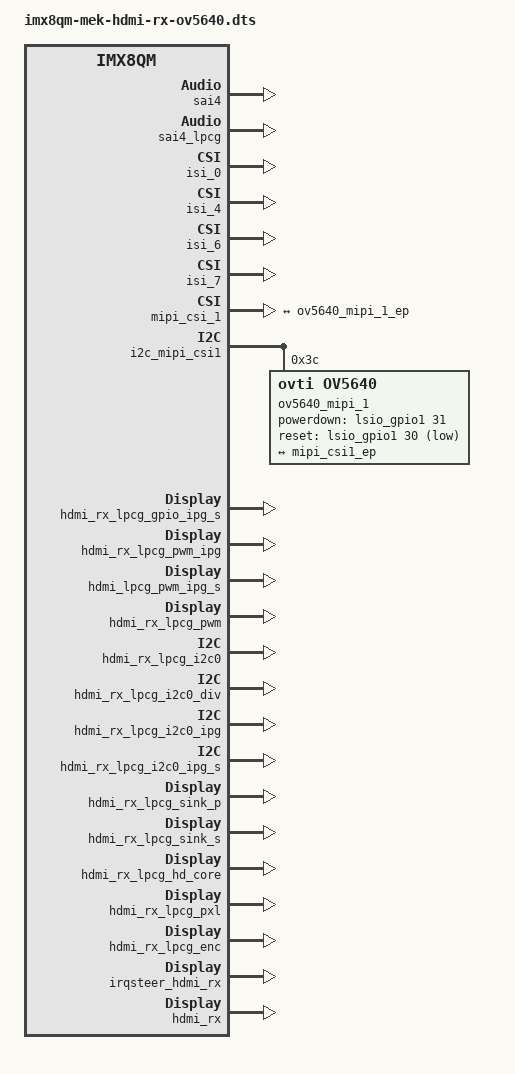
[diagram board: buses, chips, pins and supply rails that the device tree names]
// SPDX-License-Identifier: GPL-2.0+
/*
 * Copyright 2020 - 2022 NXP
 * Oliver F. Brown <oliver.brown@nxp.com>
 */
/*
 * HDMI RX and OV5640 on MIPI CSI 1
 */

#include "imx8qm-mek-hdmi.dts"

/ {
	sound-hdmi-rx {
		compatible = "fsl,imx-audio-cdnhdmi";
		model = "imx-audio-hdmi-rx";
		audio-cpu = <&sai4>;
		protocol = <1>;
		hdmi-in;
	};
};

&sai4 {
	fsl,sai-asynchronous;
	status = "okay";
};

&sai4_lpcg {
	status = "okay";
};

&isi_0 {
	status = "okay";

	cap_device {
		status = "disabled";
	};

	m2m_device {
		status = "okay";
	};
};

&isi_1 {
	status = "disabled";

	cap_device {
		status = "disabled";
	};
};


&isi_2 {
	status = "disabled";

	cap_device {
		status = "disabled";
	};
};
&isi_3 {
	status = "disabled";

	cap_device {
		status = "disabled";
	};
};


&isi_4 {
	status = "okay";

	cap_device {
		status = "okay";
	};
};

&isi_5 {
	status = "disabled";

	cap_device {
		status = "disabled";
	};
};

/* HDMI RX */
&isi_6 {
	interface = <4 0 2>;  /* <Input MIPI_VCx Output>
						Input:  0-DC0, 1-DC1, 2-MIPI CSI0, 3-MIPI CSI1, 4-HDMI, 5-MEM
						VCx:    0-VC0, 1-VC1, 2-VC2, 3-VC3, MIPI CSI only
						Output: 0-DC0, 1-DC1, 2-MEM */
	status = "okay";
	cap_device {
		status = "okay";
	};
};

&isi_7 {
	/* For HDMI RX 4K chain buf */
	interface = <4 0 2>;
	status = "okay";
	cap_device {
		status = "okay";
	};
};

&mipi_csi_0 {
        /delete-property/virtual-channel;
	status = "disabled";
};

&i2c_mipi_csi0 {
	status = "disabled";
};

&mipi_csi_1 {
	/delete-property/virtual-channel;

	/* Camera 1  MIPI CSI-2 (CSIS0) */
	port@1 {
		reg = <1>;
		mipi_csi1_ep: endpoint {
			remote-endpoint = <&ov5640_mipi_1_ep>;
			data-lanes = <1 2>;
			bus-type = <4>;
		};
	};
};

&i2c_mipi_csi1 {
	ov5640_mipi_1: ov5640_mipi@3c {
		compatible = "ovti,ov5640";
		reg = <0x3c>;
		pinctrl-names = "default";
		pinctrl-0 = <&pinctrl_mipi_csi1>;
		clocks = <&xtal24m>;
		clock-names = "xclk";
		csi_id = <0>;
		powerdown-gpios = <&lsio_gpio1 31 GPIO_ACTIVE_HIGH>;
		reset-gpios = <&lsio_gpio1 30 GPIO_ACTIVE_LOW>;
		mclk = <24000000>;
		mclk_source = <0>;
		mipi_csi;
		status = "okay";
		port {
			ov5640_mipi_1_ep: endpoint {
				remote-endpoint = <&mipi_csi1_ep>;
				data-lanes = <1 2>;
				clocks-lanes = <0>;
			};
		};
	};

	/delete-node/max9286_mipi@6a;
};

&hdmi_rx_lpcg_gpio_ipg_s {
	status = "okay";
};

&hdmi_rx_lpcg_pwm_ipg {
	status = "okay";
};

&hdmi_lpcg_pwm_ipg_s {
	status = "okay";
};

&hdmi_rx_lpcg_pwm {
	status = "okay";
};

&hdmi_rx_lpcg_i2c0 {
	status = "okay";
};

&hdmi_rx_lpcg_i2c0_div {
	status = "okay";
};

&hdmi_rx_lpcg_i2c0_ipg {
	status = "okay";
};

&hdmi_rx_lpcg_i2c0_ipg_s {
	status = "okay";
};

&hdmi_rx_lpcg_sink_p {
	status = "okay";
};

&hdmi_rx_lpcg_sink_s {
	status = "okay";
};

&hdmi_rx_lpcg_hd_core {
	status = "okay";
};

&hdmi_rx_lpcg_pxl {
	status = "okay";
};

&hdmi_rx_lpcg_enc {
	status = "okay";
};

&irqsteer_hdmi_rx {
	status = "okay";
};

&hdmi_rx {
	fsl,cec;
	firmware-name = "hdmirxfw.bin";
	assigned-clocks = <&clk IMX_SC_R_HDMI_RX IMX_SC_PM_CLK_MISC1>,
						<&clk IMX_SC_R_HDMI_RX IMX_SC_PM_CLK_MISC3>;
	assigned-clock-parents = <&hdmi_rx_dig_pll>,
							<&clk IMX_SC_R_HDMI_RX_BYPASS IMX_SC_PM_CLK_MISC2>;
	assigned-clock-rates = <400000000>, <0>;
	status = "okay";
};
